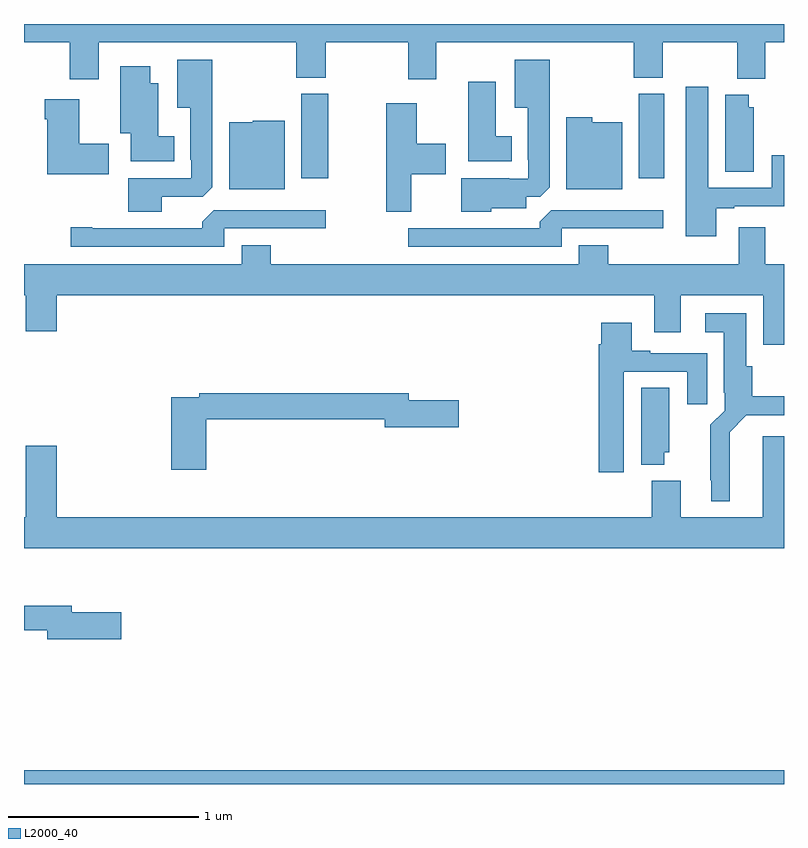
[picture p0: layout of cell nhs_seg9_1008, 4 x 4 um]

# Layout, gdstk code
import gdstk
lib = gdstk.Library(unit=1e-6, precision=1e-09)
def R(c, l, rs):  # rectangles x0, y0, x1, y1
    for r in rs: c.add(gdstk.rectangle(r[:2], r[2:], *l))
def P(c, l, *ps):  # polygons
    for p in ps: c.add(gdstk.Polygon(p, *l))
L2000_40 = (2000, 40)

nhs_seg9_1008 = lib.new_cell('nhs_seg9_1008')
R(nhs_seg9_1008, L2000_40, [(165,1208.5,169,1208.572), (166.46,1211.688,166.602,1212.132), (168.236,1211.688,168.37,1212.132)])
P(nhs_seg9_1008, L2000_40, [(165,1212.404),(165.242,1212.404),(165.242,1212.21),(165.394,1212.21),(165.394,1212.404),(166.432,1212.404),(166.432,1212.217),(166.587,1212.217),(166.587,1212.404),(167.023,1212.404),(167.023,1212.21),(167.17,1212.21),(167.17,1212.404),(168.208,1212.404),(168.208,1212.217),(168.363,1212.217),(168.363,1212.404),(168.754,1212.404),(168.754,1212.212),(168.901,1212.212),(168.901,1212.404),(169,1212.404),(169,1212.5),(165,1212.5)],
  [(165.724,1211.592),(165.942,1211.592),(165.991,1211.641),(165.991,1212.313),(165.806,1212.313),(165.806,1212.059),(165.875,1212.059),(165.875,1211.785),(165.879,1211.785),(165.879,1211.688),(165.548,1211.688),(165.548,1211.513),(165.724,1211.513)],
  [(167.46,1211.531),(167.644,1211.531),(167.644,1211.592),(167.718,1211.592),(167.767,1211.641),(167.767,1212.313),(167.582,1212.313),(167.582,1212.059),(167.651,1212.059),(167.651,1211.785),(167.655,1211.785),(167.655,1211.685),(167.555,1211.685),(167.555,1211.689),(167.3,1211.689),(167.3,1211.513),(167.46,1211.513)],
  [(165.79,1211.908),(165.706,1211.908),(165.706,1212.187),(165.664,1212.187),(165.664,1212.277),(165.506,1212.277),(165.506,1211.924),(165.563,1211.924),(165.563,1211.777),(165.79,1211.777)],
  [(167.566,1211.908),(167.482,1211.908),(167.482,1212.196),(167.339,1212.196),(167.339,1211.777),(167.566,1211.777)],
  [(168.643,1211.529),(168.739,1211.529),(168.739,1211.541),(169,1211.541),(169,1211.809),(168.935,1211.809),(168.935,1211.637),(168.601,1211.637),(168.601,1212.169),(168.482,1212.169),(168.482,1211.382),(168.643,1211.382)],
  [(168.841,1212.063),(168.814,1212.063),(168.814,1212.127),(168.692,1212.127),(168.692,1211.722),(168.841,1211.722)],
  [(165.445,1211.871),(165.292,1211.871),(165.292,1212.103),(165.11,1212.103),(165.11,1211.999),(165.122,1211.999),(165.122,1211.708),(165.445,1211.708)],
  [(167.038,1211.708),(167.221,1211.708),(167.221,1211.871),(167.068,1211.871),(167.068,1212.082),(166.906,1212.082),(166.906,1211.511),(167.038,1211.511)],
  [(168.148,1211.983),(167.991,1211.983),(167.991,1212.01),(167.855,1212.01),(167.855,1211.63),(168.148,1211.63)],
  [(166.372,1211.992),(166.203,1211.992),(166.203,1211.983),(166.079,1211.983),(166.079,1211.63),(166.372,1211.63)],
  [(166.053,1211.424),(166.588,1211.424),(166.588,1211.52),(165.999,1211.52),(165.938,1211.458),(165.938,1211.424),(165.358,1211.424),(165.358,1211.429),(165.246,1211.429),(165.246,1211.328),(166.053,1211.328)],
  [(167.829,1211.424),(168.364,1211.424),(168.364,1211.52),(167.775,1211.52),(167.714,1211.458),(167.714,1211.424),(167.022,1211.424),(167.022,1211.328),(167.829,1211.328)],
  [(169,1211.236),(168.901,1211.236),(168.901,1211.431),(168.761,1211.431),(168.761,1211.236),(168.074,1211.236),(168.074,1211.335),(167.921,1211.335),(167.921,1211.236),(166.298,1211.236),(166.298,1211.335),(166.145,1211.335),(166.145,1211.236),(165,1211.236),(165,1211.072),(165.008,1211.072),(165.008,1210.884),(165.172,1210.884),(165.172,1211.072),(168.317,1211.072),(168.317,1210.878),(168.457,1210.878),(168.457,1211.072),(168.891,1211.072),(168.891,1210.812),(169,1210.812)],
  [(168.715,1210.352),(168.802,1210.44),(169,1210.44),(169,1210.541),(168.833,1210.541),(168.833,1210.698),(168.802,1210.698),(168.802,1210.978),(168.585,1210.978),(168.585,1210.877),(168.683,1210.877),(168.683,1210.558),(168.687,1210.558),(168.687,1210.464),(168.613,1210.39),(168.613,1210.099),(168.617,1210.099),(168.617,1209.989),(168.715,1209.989)],
  [(168.157,1210.671),(168.491,1210.671),(168.491,1210.5),(168.595,1210.5),(168.595,1210.767),(168.295,1210.767),(168.295,1210.78),(168.199,1210.78),(168.199,1210.927),(168.038,1210.927),(168.038,1210.814),(168.026,1210.814),(168.026,1210.14),(168.157,1210.14)],
  [(168.37,1210.245),(168.397,1210.245),(168.397,1210.586),(168.248,1210.586),(168.248,1210.181),(168.37,1210.181)],
  [(165.959,1210.42),(166.898,1210.42),(166.898,1210.378),(167.287,1210.378),(167.287,1210.52),(167.026,1210.52),(167.026,1210.556),(165.922,1210.556),(165.922,1210.536),(165.776,1210.536),(165.776,1210.155),(165.959,1210.155)],
  [(169,1210.33),(168.887,1210.33),(168.887,1209.904),(168.457,1209.904),(168.457,1210.096),(168.305,1210.096),(168.305,1209.904),(165.172,1209.904),(165.172,1210.279),(165.008,1210.279),(165.008,1209.904),(165,1209.904),(165,1209.74),(169,1209.74)],
  [(165.511,1209.405),(165.25,1209.405),(165.25,1209.439),(165,1209.439),(165,1209.31),(165.122,1209.31),(165.122,1209.263),(165.511,1209.263)])

lib.write_gds('nhs_seg9_1008.gds')
